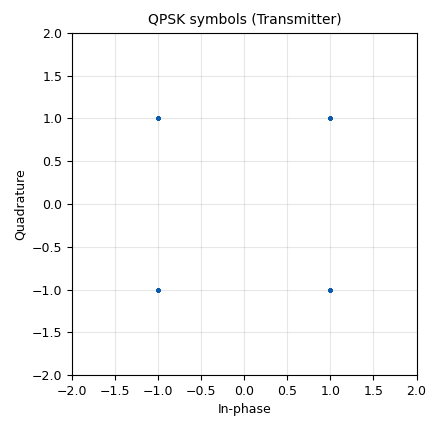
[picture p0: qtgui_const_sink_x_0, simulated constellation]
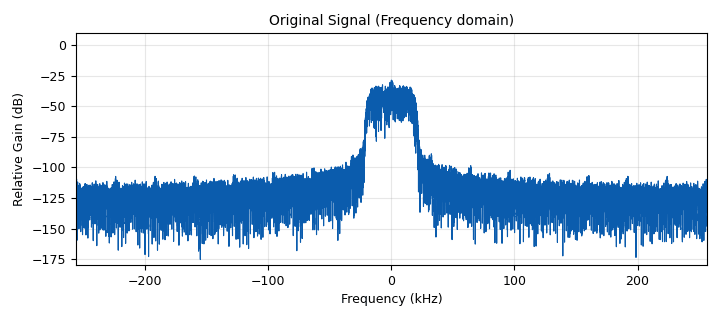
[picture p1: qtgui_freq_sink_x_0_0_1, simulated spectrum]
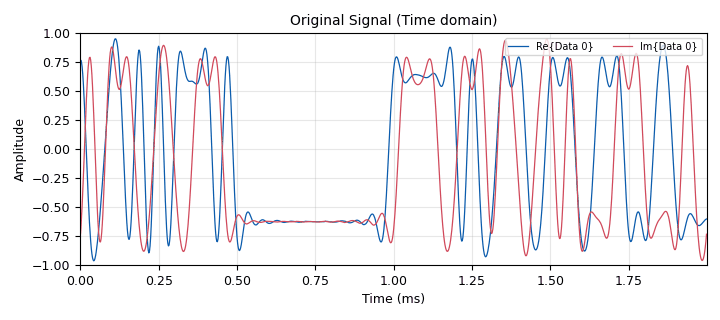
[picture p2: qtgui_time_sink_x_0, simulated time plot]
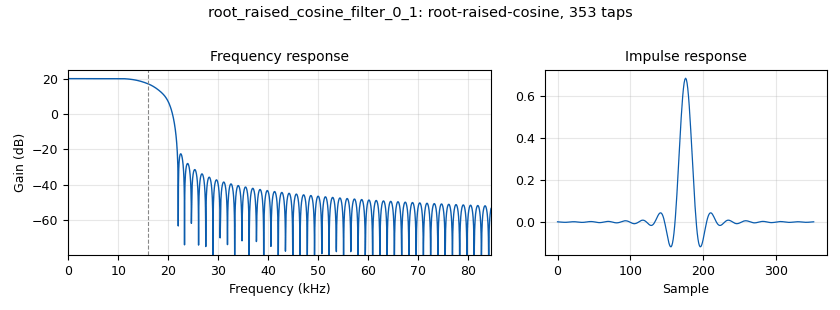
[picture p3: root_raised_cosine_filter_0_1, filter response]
options:
  parameters:
    author: native
    generate_options: qt_gui
    id: default
    output_language: python
    title: Not titled yet
  states: {}

blocks:
- name: alpha
  id: variable_qtgui_range
  parameters:
    gui_hint: 0,2,1,2
    start: '0'
    step: '0.05'
    stop: '1'
    value: '0.35'
  states: {}
- name: fc
  id: variable
  parameters:
    value: fc_select
  states: {}
- name: fc_select
  id: variable_qtgui_chooser
  parameters:
    gui_hint: 1,2,1,2
    label0: 910 MHz
    label1: 1.8 GHz
    label2: 5.8 GHz
    num_opts: '3'
    option0: 910e6
    option1: 1.8e9
    option2: 5.8e9
    orient: Qt.QHBoxLayout
    type: real
    value: 910e6
    widget: radio_buttons
  states: {}
- name: num_taps
  id: variable
  parameters:
    value: int(symb_rate*11/param)
  states: {}
- name: param
  id: variable
  parameters:
    value: '1000'
  states: {}
- name: payload_len
  id: variable
  parameters:
    value: '128'
  states: {}
- name: preamble_len
  id: variable
  parameters:
    value: '15'
  states: {}
- name: qpsk
  id: variable
  parameters:
    value: '[-1-1j,-1+1j,1+1j,1-1j]'
  states: {}
- name: samp_rate
  id: variable
  parameters:
    value: symb_rate*sps
  states: {}
- name: sps
  id: variable
  parameters:
    value: '16'
  states: {}
- name: srrc_gain
  id: variable_qtgui_range
  parameters:
    gui_hint: 1,0,1,2
    start: '0'
    step: '5'
    stop: '100'
    value: '10'
  states: {}
- name: symb_rate
  id: variable
  parameters:
    value: 32*param
  states: {}
- name: tx_gain
  id: variable_qtgui_range
  parameters:
    gui_hint: 0,0,1,2
    start: '0'
    step: '0.02'
    stop: '1'
    value: '0.7'
  states: {}
- name: analog_random_source_x_0
  id: analog_random_source_x
  parameters:
    max: '4'
    min: '0'
    num_samps: '1000000'
    repeat: 'True'
    type: int
  states: {}
- name: blocks_stream_to_tagged_stream_0
  id: blocks_stream_to_tagged_stream
  parameters:
    len_tag_key: '"packet_len"'
    packet_len: payload_len
    type: int
  states: {}
- name: blocks_stream_to_tagged_stream_0_0
  id: blocks_stream_to_tagged_stream
  parameters:
    len_tag_key: '"packet_len"'
    packet_len: preamble_len
    type: int
  states: {}
- name: blocks_tagged_stream_mux_0
  id: blocks_tagged_stream_mux
  parameters:
    lengthtagname: '"packet_len"'
    ninputs: '2'
    type: complex
  states: {}
- name: blocks_throttle2_0
  id: blocks_throttle2
  parameters:
    samples_per_second: samp_rate
    type: complex
  states: {state: disabled}
- name: blocks_vector_source_x_0
  id: blocks_vector_source_x
  parameters:
    repeat: 'True'
    type: int
    vector: '[0,0,0,0,0]*3'
  states: {}
- name: digital_chunks_to_symbols_xx_0
  id: digital_chunks_to_symbols_xx
  parameters:
    dimension: '1'
    in_type: int
    out_type: complex
    symbol_table: qpsk
  states: {}
- name: digital_chunks_to_symbols_xx_0_0
  id: digital_chunks_to_symbols_xx
  parameters:
    dimension: '1'
    in_type: int
    out_type: complex
    symbol_table: qpsk
  states: {}
- name: qtgui_const_sink_x_0
  id: qtgui_const_sink_x
  parameters:
    grid: 'True'
    gui_hint: 2,0,2,2
    name: '"QPSK symbols (Transmitter)"'
    size: '1024'
    type: complex
  states: {}
- name: qtgui_freq_sink_x_0_0_1
  id: qtgui_freq_sink_x
  parameters:
    bw: samp_rate
    fc: '0'
    fftsize: '32768'
    grid: 'True'
    gui_hint: 2,2,2,2
    name: '"Original Signal (Frequency domain)"'
    type: complex
    ymin: '-180'
  states: {}
- name: qtgui_time_sink_x_0
  id: qtgui_time_sink_x
  parameters:
    entags: 'False'
    grid: 'True'
    gui_hint: 4,0,2,4
    name: '"Original Signal (Time domain)"'
    size: '1024'
    srate: samp_rate
    type: complex
    update_time: '0.1'
  states: {}
- name: qtgui_time_sink_x_0_0
  id: qtgui_time_sink_x
  parameters:
    gui_hint: 6,0,2,2
    name: '"Original Signal (Time domain)"'
    size: '1024'
    srate: samp_rate
    type: complex
  states: {state: disabled}
- name: qtgui_time_sink_x_0_0_0
  id: qtgui_time_sink_x
  parameters:
    name: '"Original Signal (Time domain)"'
    size: '1024'
    srate: samp_rate
    type: complex
    update_time: '0.5'
  states: {state: disabled}
- name: qtgui_time_sink_x_0_0_0_0
  id: qtgui_time_sink_x
  parameters:
    name: '"Original Signal (Time domain)"'
    size: '1024'
    srate: samp_rate
    type: complex
    update_time: '0.5'
  states: {state: disabled}
- name: root_raised_cosine_filter_0_1
  id: root_raised_cosine_filter
  parameters:
    alpha: alpha
    gain: srrc_gain
    interp: sps
    ntaps: num_taps
    samp_rate: samp_rate
    sym_rate: symb_rate
    type: interp_fir_filter_ccf
  states: {}
- name: uhd_usrp_sink_0
  id: uhd_usrp_sink
  parameters:
    ant0: '"TX/RX"'
    center_freq0: fc
    dev_addr: '"addr=10.10.23.4"'
    gain0: tx_gain
    gain_type0: normalized
    samp_rate: samp_rate
    sync: sync
    type: fc32
  states: {}
- name: virtual_sink_0
  id: virtual_sink
  parameters:
    stream_id: packet
  states: {}
- name: virtual_source_0
  id: virtual_source
  parameters:
    stream_id: packet
  states: {}

connections:
- [analog_random_source_x_0, '0', blocks_stream_to_tagged_stream_0, '0']
- [blocks_stream_to_tagged_stream_0, '0', digital_chunks_to_symbols_xx_0_0, '0']
- [blocks_stream_to_tagged_stream_0_0, '0', digital_chunks_to_symbols_xx_0, '0']
- [blocks_tagged_stream_mux_0, '0', blocks_throttle2_0, '0']
- [blocks_tagged_stream_mux_0, '0', qtgui_time_sink_x_0_0_0_0, '0']
- [blocks_tagged_stream_mux_0, '0', virtual_sink_0, '0']
- [blocks_throttle2_0, '0', virtual_sink_0, '0']
- [blocks_vector_source_x_0, '0', blocks_stream_to_tagged_stream_0_0, '0']
- [digital_chunks_to_symbols_xx_0, '0', blocks_tagged_stream_mux_0, '0']
- [digital_chunks_to_symbols_xx_0, '0', qtgui_time_sink_x_0_0_0, '0']
- [digital_chunks_to_symbols_xx_0_0, '0', blocks_tagged_stream_mux_0, '1']
- [root_raised_cosine_filter_0_1, '0', qtgui_freq_sink_x_0_0_1, '0']
- [root_raised_cosine_filter_0_1, '0', qtgui_time_sink_x_0, '0']
- [root_raised_cosine_filter_0_1, '0', uhd_usrp_sink_0, '0']
- [virtual_source_0, '0', qtgui_const_sink_x_0, '0']
- [virtual_source_0, '0', qtgui_time_sink_x_0_0, '0']
- [virtual_source_0, '0', root_raised_cosine_filter_0_1, '0']

metadata:
  file_format: 1
  grc_version: 3.10.9.2
